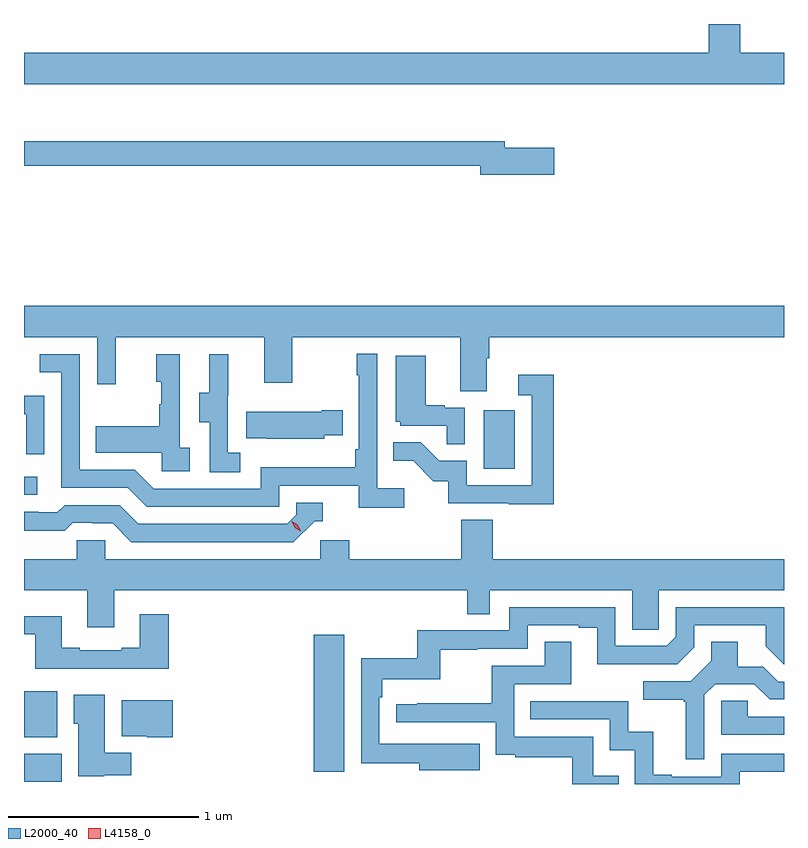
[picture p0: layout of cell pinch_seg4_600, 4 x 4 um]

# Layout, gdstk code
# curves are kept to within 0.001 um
import gdstk
lib = gdstk.Library(unit=1e-6, precision=1e-09)
def R(c, l, rs):  # rectangles x0, y0, x1, y1
    for r in rs: c.add(gdstk.rectangle(r[:2], r[2:], *l))
def P(c, l, *ps):  # polygons
    for p in ps: c.add(gdstk.Polygon(p, *l))
L2000_40 = (2000, 40)
L4158_0 = (4158, 0)

pinch_seg4_600 = lib.new_cell('pinch_seg4_600')
R(pinch_seg4_600, L2000_40, [(1056.049,774.5,1056.247,774.646), (1057.574,774.552,1057.735,775.273), (1056.049,774.734,1056.223,774.976), (1056.049,776.01,1056.118,776.106), (1058.468,776.148,1058.632,776.455)])
P(pinch_seg4_600, L2000_40, [(1060.049,778.336),(1059.818,778.336),(1059.818,778.488),(1059.653,778.488),(1059.653,778.336),(1056.049,778.336),(1056.049,778.172),(1060.049,778.172)],
  [(1058.839,777.837),(1058.578,777.837),(1058.578,777.871),(1056.049,777.871),(1056.049,777.742),(1058.45,777.742),(1058.45,777.695),(1058.839,777.695)],
  [(1058.485,776.728),(1058.498,776.728),(1058.498,776.84),(1060.049,776.84),(1060.049,777.004),(1056.049,777.004),(1056.049,776.84),(1056.435,776.84),(1056.435,776.592),(1056.533,776.592),(1056.533,776.84),(1057.313,776.84),(1057.313,776.601),(1057.461,776.601),(1057.461,776.84),(1058.345,776.84),(1058.345,776.554),(1058.485,776.554)],
  [(1058.05,776.044),(1057.908,776.044),(1057.908,776.752),(1057.8,776.752),(1057.8,776.639),(1057.812,776.639),(1057.812,776.251),(1057.792,776.251),(1057.792,776.155),(1057.296,776.155),(1057.296,776.043),(1056.732,776.043),(1056.633,776.142),(1056.342,776.142),(1056.342,776.751),(1056.133,776.751),(1056.133,776.655),(1056.246,776.655),(1056.246,776.046),(1056.596,776.046),(1056.695,775.947),(1057.392,775.947),(1057.392,776.058),(1057.811,776.058),(1057.811,775.942),(1058.05,775.942)],
  [(1056.922,776.258),(1056.87,776.258),(1056.87,776.749),(1056.746,776.749),(1056.746,776.604),(1056.772,776.604),(1056.772,776.486),(1056.762,776.486),(1056.762,776.371),(1056.427,776.371),(1056.427,776.231),(1056.774,776.231),(1056.774,776.133),(1056.922,776.133)],
  [(1057.186,776.231),(1057.122,776.231),(1057.122,776.535),(1057.124,776.535),(1057.124,776.749),(1057.025,776.749),(1057.025,776.547),(1056.971,776.547),(1056.971,776.392),(1057.026,776.392),(1057.026,776.128),(1057.186,776.128)],
  [(1058.37,776.469),(1058.264,776.469),(1058.264,776.482),(1058.164,776.482),(1058.164,776.743),(1058.006,776.743),(1058.006,776.394),(1058.028,776.394),(1058.028,776.373),(1058.275,776.373),(1058.275,776.275),(1058.37,776.275)],
  [(1058.837,776.641),(1058.649,776.641),(1058.649,776.535),(1058.721,776.535),(1058.721,776.061),(1058.379,776.061),(1058.379,776.19),(1058.235,776.19),(1058.137,776.288),(1057.993,776.288),(1057.993,776.189),(1058.097,776.189),(1058.204,776.082),(1058.281,776.082),(1058.281,775.965),(1058.599,775.965),(1058.599,775.96),(1058.837,775.96)],
  [(1056.156,776.532),(1056.049,776.532),(1056.049,776.435),(1056.06,776.435),(1056.06,776.223),(1056.156,776.223)],
  [(1057.629,776.324),(1057.727,776.324),(1057.727,776.454),(1057.616,776.454),(1057.616,776.446),(1057.219,776.446),(1057.219,776.309),(1057.327,776.309),(1057.327,776.306),(1057.629,776.306)],
  [(1057.578,775.872),(1057.621,775.872),(1057.621,775.968),(1057.482,775.968),(1057.482,775.905),(1057.434,775.857),(1056.651,775.857),(1056.552,775.956),(1056.263,775.956),(1056.224,775.917),(1056.125,775.917),(1056.125,775.92),(1056.049,775.92),(1056.049,775.821),(1056.263,775.821),(1056.305,775.863),(1056.408,775.863),(1056.408,775.86),(1056.515,775.86),(1056.614,775.761),(1057.467,775.761)],
  [(1056.477,775.77),(1056.327,775.77),(1056.327,775.672),(1056.049,775.672),(1056.049,775.508),(1056.383,775.508),(1056.383,775.314),(1056.523,775.314),(1056.523,775.508),(1058.383,775.508),(1058.383,775.381),(1058.499,775.381),(1058.499,775.508),(1059.251,775.508),(1059.251,775.3),(1059.39,775.3),(1059.39,775.508),(1060.049,775.508),(1060.049,775.672),(1058.516,775.672),(1058.516,775.88),(1058.351,775.88),(1058.351,775.672),(1057.76,775.672),(1057.76,775.77),(1057.608,775.77),(1057.608,775.672),(1056.477,775.672)],
  [(1058.447,774.7),(1057.92,774.699),(1057.92,774.944),(1057.934,774.944),(1057.934,775.04),(1058.239,775.04),(1058.239,775.195),(1058.435,775.195),(1058.435,775.2),(1058.7,775.2),(1058.7,775.323),(1058.969,775.323),(1058.969,775.311),(1059.065,775.311),(1059.065,775.118),(1059.486,775.119),(1059.576,775.209),(1059.576,775.323),(1059.953,775.323),(1059.953,775.213),(1060.047,775.119),(1060.049,775.119),(1060.049,775.419),(1059.48,775.419),(1059.48,775.263),(1059.432,775.215),(1059.162,775.215),(1059.162,775.419),(1058.604,775.419),(1058.604,775.296),(1058.118,775.296),(1058.118,775.15),(1057.824,775.15),(1057.824,774.598),(1058.129,774.598),(1058.129,774.56),(1058.447,774.56)],
  [(1056.812,775.381),(1056.659,775.381),(1056.659,775.204),(1056.563,775.204),(1056.563,775.191),(1056.343,775.191),(1056.343,775.204),(1056.247,775.204),(1056.247,775.372),(1056.049,775.372),(1056.049,775.275),(1056.107,775.275),(1056.107,775.094),(1056.812,775.094)],
  [(1059.179,774.532),(1059.045,774.532),(1059.045,774.738),(1058.628,774.738),(1058.628,775.014),(1058.929,775.014),(1058.929,775.238),(1058.789,775.238),(1058.789,775.11),(1058.512,775.11),(1058.512,774.914),(1058.119,774.914),(1058.119,774.909),(1058.007,774.909),(1058.007,774.813),(1058.532,774.813),(1058.532,774.641),(1058.635,774.641),(1058.635,774.63),(1058.934,774.63),(1058.934,774.488),(1059.179,774.488)],
  [(1059.63,774.957),(1059.687,775.014),(1059.893,775.014),(1059.974,774.933),(1060.049,774.933),(1060.049,775.026),(1060.02,775.026),(1059.94,775.106),(1059.805,775.106),(1059.805,775.238),(1059.665,775.238),(1059.665,775.136),(1059.558,775.029),(1059.309,775.029),(1059.309,774.932),(1059.522,774.932),(1059.522,774.921),(1059.533,774.921),(1059.533,774.618),(1059.63,774.618)],
  [(1056.471,774.534),(1056.614,774.534),(1056.614,774.652),(1056.475,774.652),(1056.475,774.958),(1056.311,774.958),(1056.311,774.804),(1056.335,774.804),(1056.335,774.53),(1056.471,774.53)],
  [(1056.832,774.928),(1056.563,774.928),(1056.563,774.74),(1056.696,774.74),(1056.696,774.734),(1056.832,774.734)],
  [(1060.049,774.843),(1059.857,774.843),(1059.857,774.927),(1059.72,774.927),(1059.72,774.747),(1060.049,774.747)],
  [(1059.816,774.552),(1060.049,774.552),(1060.049,774.648),(1059.72,774.648),(1059.72,774.525),(1059.457,774.525),(1059.457,774.538),(1059.361,774.538),(1059.361,774.763),(1059.228,774.763),(1059.228,774.924),(1058.713,774.924),(1058.713,774.828),(1059.132,774.828),(1059.132,774.665),(1059.264,774.665),(1059.264,774.488),(1059.816,774.488)])
P(pinch_seg4_600, L4158_0, [(1057.505,775.819),(1057.474,775.838),(1057.458,775.871),(1057.458,775.871),(1057.458,775.871),(1057.489,775.852),(1057.505,775.82),(1057.505,775.819)])

lib.write_gds('pinch_seg4_600.gds')
